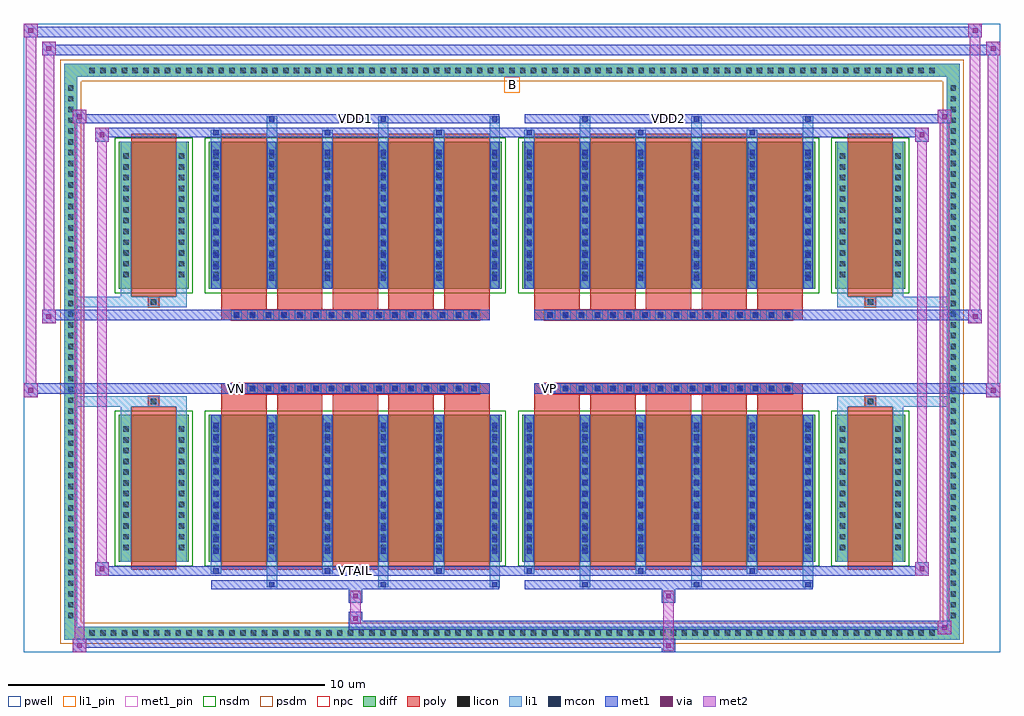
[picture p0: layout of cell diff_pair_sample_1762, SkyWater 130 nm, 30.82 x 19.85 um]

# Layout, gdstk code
import gdstk
lib = gdstk.Library(unit=1e-6, precision=5e-09)
def R(c, l, rs):  # rectangles x0, y0, x1, y1
    for r in rs: c.add(gdstk.rectangle(r[:2], r[2:], *l))
def A(c, l, x, y, w, h, nx, ny, dx, dy):  # array of equal rectangles
    R(c, l, [(x+i*dx, y+j*dy, x+i*dx+w, y+j*dy+h) for i in range(nx) for j in range(ny)])
def P(c, l, *ps):  # polygons
    for p in ps: c.add(gdstk.Polygon(p, *l))
pwell = (64, 44)
diff = (65, 20)
poly = (66, 20)
licon = (66, 44)
li1_pin = (67, 16)
li1 = (67, 20)
mcon = (67, 44)
met1_pin = (68, 16)
met1 = (68, 20)
via = (68, 44)
met2 = (69, 20)
nsdm = (93, 44)
psdm = (94, 20)
npc = (95, 20)

diff_pair_sample_1762 = lib.new_cell('diff_pair_sample_1762')
R(diff_pair_sample_1762, pwell, [(-15.41,-9.49,15.41,10.36), (-12.73,-7.68,-0.01,-0.8), (0.01,-7.68,12.73,-0.8), (-12.73,0.8,-0.01,7.68), (0.01,0.8,12.73,7.68)])
A(diff_pair_sample_1762, diff, -13.465, -9.09, 0.41, 0.41, 79, 2, 0.34, 17.77)
A(diff_pair_sample_1762, diff, -14.14, -8.535, 0.41, 0.41, 1, 50, 0, 0.34)
A(diff_pair_sample_1762, diff, 13.73, -8.535, 0.41, 0.41, 1, 50, 0, 0.34)
R(diff_pair_sample_1762, diff, [(-13.465,-9.09,13.465,-8.68), (-14.14,-8.535,-13.73,8.535), (13.73,-8.535,14.14,8.535), (-12.42,-6.635,-10.21,-1.985), (-9.57,-6.635,-0.32,-1.985), (0.32,-6.635,9.57,-1.985), (10.21,-6.635,12.42,-1.985), (-12.42,1.985,-10.21,6.635), (-9.57,1.985,-0.32,6.635), (0.32,1.985,9.57,6.635), (10.21,1.985,12.42,6.635), (-13.465,8.68,13.465,9.09)])
P(diff_pair_sample_1762, diff, [(14.14,9.09),(-14.14,9.09),(-14.14,-8.68),(-13.73,-8.68),(-13.73,8.68),(13.73,8.68),(13.73,-8.68),(-13.73,-8.68),(-14.14,-8.68),(-14.14,-9.09),(14.14,-9.09)])
A(diff_pair_sample_1762, poly, -9.18, -6.885, 1.43, 5.15, 5, 2, 1.76, 8.62)
A(diff_pair_sample_1762, poly, 0.71, -6.885, 1.43, 5.15, 5, 2, 1.76, 8.62)
A(diff_pair_sample_1762, poly, -9.18, -1.735, 1.43, 0.405, 5, 2, 1.76, 3.065)
A(diff_pair_sample_1762, poly, 0.71, -1.735, 1.43, 0.405, 5, 2, 1.76, 3.065)
A(diff_pair_sample_1762, poly, -8.86, -1.33, 0.33, 0.33, 16, 2, 0.5, 2.33)
A(diff_pair_sample_1762, poly, 1.03, -1.33, 0.33, 0.33, 16, 2, 0.5, 2.33)
R(diff_pair_sample_1762, poly, [(-12.03,-6.885,-10.6,-1.735), (10.6,-6.885,12.03,-1.735), (-11.48,-1.735,-11.15,-1.405), (-11.48,-1.735,-11.15,-1.405), (11.15,-1.735,11.48,-1.405), (11.15,-1.735,11.48,-1.405), (-9.18,-1.33,-0.71,-1), (0.71,-1.33,9.18,-1), (-9.18,1,-0.71,1.33), (0.71,1,9.18,1.33), (-11.48,1.405,-11.15,1.735), (-11.48,1.405,-11.15,1.735), (11.15,1.405,11.48,1.735), (11.15,1.405,11.48,1.735), (-12.03,1.735,-10.6,6.885), (10.6,1.735,12.03,6.885)])
A(diff_pair_sample_1762, licon, -13.345, -8.97, 0.17, 0.17, 79, 2, 0.34, 17.77)
A(diff_pair_sample_1762, licon, -14.02, -8.415, 0.17, 0.17, 1, 50, 0, 0.34)
A(diff_pair_sample_1762, licon, 13.85, -8.415, 0.17, 0.17, 1, 50, 0, 0.34)
A(diff_pair_sample_1762, licon, -12.28, -6.265, 0.17, 0.17, 1, 12, 0, 0.34)
A(diff_pair_sample_1762, licon, -10.52, -6.265, 0.17, 0.17, 1, 12, 0, 0.34)
A(diff_pair_sample_1762, licon, -9.43, -6.265, 0.17, 0.17, 6, 12, 1.76, 0.34)
A(diff_pair_sample_1762, licon, 0.46, -6.265, 0.17, 0.17, 6, 12, 1.76, 0.34)
A(diff_pair_sample_1762, licon, 10.35, -6.265, 0.17, 0.17, 1, 12, 0, 0.34)
A(diff_pair_sample_1762, licon, 12.11, -6.265, 0.17, 0.17, 1, 12, 0, 0.34)
A(diff_pair_sample_1762, licon, -8.78, -1.25, 0.17, 0.17, 16, 2, 0.5, 2.33)
A(diff_pair_sample_1762, licon, 1.11, -1.25, 0.17, 0.17, 16, 2, 0.5, 2.33)
A(diff_pair_sample_1762, licon, -12.28, 2.355, 0.17, 0.17, 1, 12, 0, 0.34)
A(diff_pair_sample_1762, licon, -10.52, 2.355, 0.17, 0.17, 1, 12, 0, 0.34)
A(diff_pair_sample_1762, licon, -9.43, 2.355, 0.17, 0.17, 6, 12, 1.76, 0.34)
A(diff_pair_sample_1762, licon, 0.46, 2.355, 0.17, 0.17, 6, 12, 1.76, 0.34)
A(diff_pair_sample_1762, licon, 10.35, 2.355, 0.17, 0.17, 1, 12, 0, 0.34)
A(diff_pair_sample_1762, licon, 12.11, 2.355, 0.17, 0.17, 1, 12, 0, 0.34)
R(diff_pair_sample_1762, licon, [(-11.4,-1.655,-11.23,-1.485), (11.23,-1.655,11.4,-1.485), (-11.4,1.485,-11.23,1.655), (11.23,1.485,11.4,1.655)])
R(diff_pair_sample_1762, li1_pin, [(-0.25,8.18,0.25,8.68)])
A(diff_pair_sample_1762, li1, -13.425, -9.05, 0.33, 0.33, 79, 2, 0.34, 17.77)
A(diff_pair_sample_1762, li1, -14.1, -8.495, 0.33, 0.33, 1, 50, 0, 0.34)
A(diff_pair_sample_1762, li1, 13.77, -8.495, 0.33, 0.33, 1, 50, 0, 0.34)
A(diff_pair_sample_1762, li1, -7.75, -7.44, 0.33, 0.805, 3, 2, 3.52, 14.075)
A(diff_pair_sample_1762, li1, -7.67, -7.44, 0.17, 0.17, 3, 2, 3.52, 14.71)
A(diff_pair_sample_1762, li1, 2.14, -7.44, 0.33, 0.805, 3, 2, 3.52, 14.075)
A(diff_pair_sample_1762, li1, 2.22, -7.44, 0.17, 0.17, 3, 2, 3.52, 14.71)
A(diff_pair_sample_1762, li1, -9.51, -7.01, 0.33, 0.375, 3, 2, 3.52, 13.645)
A(diff_pair_sample_1762, li1, -9.43, -7.01, 0.17, 0.17, 3, 2, 3.52, 13.85)
A(diff_pair_sample_1762, li1, 0.38, -7.01, 0.33, 0.375, 3, 2, 3.52, 13.645)
A(diff_pair_sample_1762, li1, 0.46, -7.01, 0.17, 0.17, 3, 2, 3.52, 13.85)
A(diff_pair_sample_1762, li1, -9.51, -6.635, 0.33, 4.65, 6, 2, 1.76, 8.62)
A(diff_pair_sample_1762, li1, 0.38, -6.635, 0.33, 4.65, 6, 2, 1.76, 8.62)
A(diff_pair_sample_1762, li1, -9.43, -6.375, 0.17, 0.17, 6, 12, 1.76, 0.36)
A(diff_pair_sample_1762, li1, -9.43, -6.375, 0.17, 4.13, 6, 2, 1.76, 8.62)
A(diff_pair_sample_1762, li1, 0.46, -6.375, 0.17, 0.17, 6, 12, 1.76, 0.36)
A(diff_pair_sample_1762, li1, 0.46, -6.375, 0.17, 4.13, 6, 2, 1.76, 8.62)
A(diff_pair_sample_1762, li1, -12.36, -6.345, 0.33, 0.33, 1, 12, 0, 0.34)
A(diff_pair_sample_1762, li1, -10.6, -6.345, 0.33, 0.33, 1, 12, 0, 0.34)
A(diff_pair_sample_1762, li1, -9.51, -6.345, 0.33, 0.33, 6, 12, 1.76, 0.34)
A(diff_pair_sample_1762, li1, 0.38, -6.345, 0.33, 0.33, 6, 12, 1.76, 0.34)
A(diff_pair_sample_1762, li1, 10.27, -6.345, 0.33, 0.33, 1, 12, 0, 0.34)
A(diff_pair_sample_1762, li1, 12.03, -6.345, 0.33, 0.33, 1, 12, 0, 0.34)
A(diff_pair_sample_1762, li1, -8.86, -1.33, 0.33, 0.33, 16, 2, 0.5, 2.33)
A(diff_pair_sample_1762, li1, 1.03, -1.33, 0.33, 0.33, 16, 2, 0.5, 2.33)
A(diff_pair_sample_1762, li1, -9.43, 2.245, 0.17, 0.17, 6, 12, 1.76, 0.36)
A(diff_pair_sample_1762, li1, 0.46, 2.245, 0.17, 0.17, 6, 12, 1.76, 0.36)
A(diff_pair_sample_1762, li1, -12.36, 2.275, 0.33, 0.33, 1, 12, 0, 0.34)
A(diff_pair_sample_1762, li1, -10.6, 2.275, 0.33, 0.33, 1, 12, 0, 0.34)
A(diff_pair_sample_1762, li1, -9.51, 2.275, 0.33, 0.33, 6, 12, 1.76, 0.34)
A(diff_pair_sample_1762, li1, 0.38, 2.275, 0.33, 0.33, 6, 12, 1.76, 0.34)
A(diff_pair_sample_1762, li1, 10.27, 2.275, 0.33, 0.33, 1, 12, 0, 0.34)
A(diff_pair_sample_1762, li1, 12.03, 2.275, 0.33, 0.33, 1, 12, 0, 0.34)
R(diff_pair_sample_1762, li1, [(-14.14,-9.09,-13.73,-8.68), (-14.14,-9.09,-13.73,-8.68), (-13.73,-9.09,13.73,-8.68), (13.73,-9.09,14.14,-8.68), (13.73,-9.09,14.14,-8.68), (-14.14,-8.68,-13.73,8.68), (13.73,-8.68,14.14,8.68), (-12.36,-6.635,-12.03,-1.985), (-10.6,-6.635,-10.27,-1.985), (10.27,-6.635,10.6,-1.985), (12.03,-6.635,12.36,-1.985), (-12.36,-1.985,-12.03,-1.405), (-10.6,-1.985,-10.27,-1.405), (10.27,-1.985,10.6,-1.405), (12.03,-1.985,12.36,-1.405), (-14.14,-1.735,-11.48,-1.405), (-12.36,-1.735,-11.48,-1.405), (-11.48,-1.735,-11.15,-1.405), (-11.15,-1.735,-10.27,-1.405), (10.27,-1.735,11.15,-1.405), (11.15,-1.735,11.48,-1.405), (11.15,-1.735,14.14,-1.405), (11.48,-1.735,12.36,-1.405), (-14.14,1.405,-11.48,1.735), (-12.36,1.405,-11.48,1.735), (-12.36,1.405,-12.03,1.985), (-11.48,1.405,-11.15,1.735), (-11.15,1.405,-10.27,1.735), (-10.6,1.405,-10.27,1.985), (10.27,1.405,11.15,1.735), (10.27,1.405,10.6,1.985), (11.15,1.405,11.48,1.735), (11.15,1.405,14.14,1.735), (11.48,1.405,12.36,1.735), (12.03,1.405,12.36,1.985), (-12.36,1.985,-12.03,6.635), (-10.6,1.985,-10.27,6.635), (10.27,1.985,10.6,6.635), (12.03,1.985,12.36,6.635), (-14.14,8.68,-13.73,9.09), (-14.14,8.68,-13.73,9.09), (-13.73,8.68,13.73,9.09), (13.73,8.68,14.14,9.09), (13.73,8.68,14.14,9.09)])
A(diff_pair_sample_1762, mcon, -7.67, -7.44, 0.17, 0.17, 3, 2, 3.52, 14.71)
A(diff_pair_sample_1762, mcon, 2.22, -7.44, 0.17, 0.17, 3, 2, 3.52, 14.71)
A(diff_pair_sample_1762, mcon, -9.43, -7.01, 0.17, 0.17, 3, 2, 3.52, 13.85)
A(diff_pair_sample_1762, mcon, 0.46, -7.01, 0.17, 0.17, 3, 2, 3.52, 13.85)
A(diff_pair_sample_1762, mcon, -9.43, -6.375, 0.17, 0.17, 6, 12, 1.76, 0.36)
A(diff_pair_sample_1762, mcon, 0.46, -6.375, 0.17, 0.17, 6, 12, 1.76, 0.36)
A(diff_pair_sample_1762, mcon, -8.78, -1.25, 0.17, 0.17, 16, 2, 0.5, 2.33)
A(diff_pair_sample_1762, mcon, 1.11, -1.25, 0.17, 0.17, 16, 2, 0.5, 2.33)
A(diff_pair_sample_1762, mcon, -9.43, 2.245, 0.17, 0.17, 6, 12, 1.76, 0.36)
A(diff_pair_sample_1762, mcon, 0.46, 2.245, 0.17, 0.17, 6, 12, 1.76, 0.36)
R(diff_pair_sample_1762, met1_pin, [(-5.08,-7.05,-4.81,-6.78), (-8.83,-1.29,-8.56,-1.02), (1.06,-1.29,1.33,-1.02), (-5.08,7.23,-4.81,7.5), (4.81,7.23,5.08,7.5)])
A(diff_pair_sample_1762, met1, -7.73, -7.5, 0.29, 0.29, 3, 2, 3.52, 14.71)
A(diff_pair_sample_1762, met1, 2.16, -7.5, 0.29, 0.29, 3, 2, 3.52, 14.71)
A(diff_pair_sample_1762, met1, -9.49, -7.07, 0.29, 0.29, 3, 2, 3.52, 13.85)
A(diff_pair_sample_1762, met1, 0.4, -7.07, 0.29, 0.29, 3, 2, 3.52, 13.85)
A(diff_pair_sample_1762, met1, -9.49, -6.635, 0.29, 4.65, 6, 2, 1.76, 8.62)
A(diff_pair_sample_1762, met1, 0.4, -6.635, 0.29, 4.65, 6, 2, 1.76, 8.62)
A(diff_pair_sample_1762, met1, -9.49, -6.435, 0.29, 0.29, 6, 12, 1.76, 0.36)
A(diff_pair_sample_1762, met1, 0.4, -6.435, 0.29, 0.29, 6, 12, 1.76, 0.36)
A(diff_pair_sample_1762, met1, -8.84, -1.31, 0.29, 0.29, 16, 2, 0.5, 2.33)
A(diff_pair_sample_1762, met1, 1.05, -1.31, 0.29, 0.29, 16, 2, 0.5, 2.33)
A(diff_pair_sample_1762, met1, -9.49, 2.185, 0.29, 0.29, 6, 12, 1.76, 0.36)
A(diff_pair_sample_1762, met1, 0.4, 2.185, 0.29, 0.29, 6, 12, 1.76, 0.36)
R(diff_pair_sample_1762, met1, [(-13.87,-9.49,-13.44,-9.06), (4.73,-9.49,5.16,-9.06), (-13.87,-9.35,5.16,-9.06), (13.44,-8.92,13.87,-8.49), (-5.16,-8.78,13.87,-8.49), (-5.16,-8.64,-4.73,-8.21), (-5.16,-7.93,-4.73,-7.5), (4.73,-7.93,5.16,-7.5), (-9.49,-7.5,-0.4,-7.21), (0.4,-7.5,9.49,-7.21), (-13.16,-7.07,-12.73,-6.64), (-13.16,-7.07,-9.49,-6.78), (-9.49,-7.07,-0.4,-6.78), (-0.4,-7.07,0.4,-6.78), (0.4,-7.07,9.49,-6.78), (9.49,-7.07,13.16,-6.78), (12.73,-7.07,13.16,-6.64), (-15.41,-1.43,-14.98,-1), (14.98,-1.43,15.41,-1), (-15.41,-1.33,-0.71,-1), (-9.18,-1.33,-0.71,-1), (0.71,-1.33,9.18,-1), (0.71,-1.33,15.41,-1), (-14.84,0.9,-14.41,1.33), (14.41,0.9,14.84,1.33), (-14.84,1,-9.18,1.33), (-9.18,1,-0.71,1.33), (0.71,1,9.18,1.33), (9.18,1,14.84,1.33), (-13.16,6.64,-12.73,7.07), (12.73,6.64,13.16,7.07), (-13.16,6.78,-9.49,7.07), (-9.49,6.78,-0.4,7.07), (-0.4,6.78,0.4,7.07), (0.4,6.78,9.49,7.07), (9.49,6.78,13.16,7.07), (-13.87,7.21,-13.44,7.64), (-13.87,7.21,-9.49,7.5), (-9.49,7.21,-0.4,7.5), (0.4,7.21,9.49,7.5), (9.49,7.21,13.87,7.5), (13.44,7.21,13.87,7.64), (-14.84,9.36,-14.41,9.79), (-14.84,9.36,-12.73,9.69), (-12.73,9.36,12.73,9.69), (12.73,9.36,15.41,9.69), (14.98,9.36,15.41,9.79), (-15.41,9.93,-14.98,10.36), (-15.41,9.93,-12.73,10.26), (-12.73,9.93,12.73,10.26), (12.73,9.93,14.84,10.26), (14.41,9.93,14.84,10.36)])
R(diff_pair_sample_1762, via, [(-13.73,-9.35,-13.58,-9.2), (4.87,-9.35,5.02,-9.2), (13.58,-8.78,13.73,-8.63), (-5.02,-8.5,-4.87,-8.35), (-5.02,-7.79,-4.87,-7.64), (4.87,-7.79,5.02,-7.64), (-13.02,-6.93,-12.87,-6.78), (12.87,-6.93,13.02,-6.78), (-15.27,-1.29,-15.12,-1.14), (15.12,-1.29,15.27,-1.14), (-14.7,1.04,-14.55,1.19), (14.55,1.04,14.7,1.19), (-13.02,6.78,-12.87,6.93), (12.87,6.78,13.02,6.93), (-13.73,7.35,-13.58,7.5), (13.58,7.35,13.73,7.5), (-14.7,9.5,-14.55,9.65), (15.12,9.5,15.27,9.65), (-15.27,10.07,-15.12,10.22), (14.55,10.07,14.7,10.22)])
R(diff_pair_sample_1762, met2, [(-13.87,-9.49,-13.44,-9.06), (-13.8,-9.49,-13.51,7.64), (-13.51,-9.49,-13.44,-9.06), (-13.82,-9.44,-13.49,-9.11), (4.78,-9.44,5.11,-9.11), (4.78,-9.11,5.11,-7.88), (13.44,-8.92,13.87,-8.49), (13.51,-8.92,13.8,7.64), (13.8,-8.92,13.87,-8.49), (13.49,-8.87,13.82,-8.54), (-5.11,-8.59,-4.78,-8.26), (-5.11,-8.26,-4.78,-7.88), (-5.11,-7.88,-4.78,-7.55), (4.78,-7.88,5.11,-7.55), (-13.16,-7.07,-12.73,-6.64), (-13.09,-7.07,-12.8,7.07), (-12.8,-7.07,-12.73,-6.64), (12.73,-7.07,13.16,-6.64), (12.8,-7.07,13.09,7.07), (13.09,-7.07,13.16,-6.64), (-13.11,-7.02,-12.78,-6.69), (12.78,-7.02,13.11,-6.69), (-15.41,-1.43,-14.98,-1), (-15.36,-1.43,-15.03,10.36), (-15.03,-1.43,-14.98,-1), (14.98,-1.43,15.41,-1), (15.03,-1.43,15.36,9.79), (15.36,-1.43,15.41,-1), (-15.36,-1.38,-15.03,-1.05), (15.03,-1.38,15.36,-1.05), (-14.84,0.9,-14.41,1.33), (-14.79,0.9,-14.46,9.79), (-14.46,0.9,-14.41,1.33), (14.41,0.9,14.84,1.33), (14.46,0.9,14.79,10.36), (14.79,0.9,14.84,1.33), (-14.79,0.95,-14.46,1.28), (14.46,0.95,14.79,1.28), (-13.16,6.64,-12.73,7.07), (-12.8,6.64,-12.73,7.07), (12.73,6.64,13.16,7.07), (13.09,6.64,13.16,7.07), (-13.11,6.69,-12.78,7.02), (12.78,6.69,13.11,7.02), (-13.87,7.21,-13.44,7.64), (-13.51,7.21,-13.44,7.64), (13.44,7.21,13.87,7.64), (13.8,7.21,13.87,7.64), (-13.82,7.26,-13.49,7.59), (13.49,7.26,13.82,7.59), (-14.84,9.36,-14.41,9.79), (-14.46,9.36,-14.41,9.79), (14.98,9.36,15.41,9.79), (15.36,9.36,15.41,9.79), (-14.79,9.41,-14.46,9.74), (15.03,9.41,15.36,9.74), (-15.41,9.93,-14.98,10.36), (-15.03,9.93,-14.98,10.36), (14.41,9.93,14.84,10.36), (14.79,9.93,14.84,10.36), (-15.36,9.98,-15.03,10.31), (14.46,9.98,14.79,10.31)])
R(diff_pair_sample_1762, nsdm, [(-12.55,-6.765,-10.08,-1.855), (-9.7,-6.765,-0.19,-1.855), (0.19,-6.765,9.7,-1.855), (10.08,-6.765,12.55,-1.855), (-12.55,1.855,-10.08,6.765), (-9.7,1.855,-0.19,6.765), (0.19,1.855,9.7,6.765), (10.08,1.855,12.55,6.765)])
P(diff_pair_sample_1762, psdm, [(14.27,9.22),(-14.27,9.22),(-14.27,-8.55),(-13.6,-8.55),(-13.6,8.55),(13.6,8.55),(13.6,-8.55),(-13.6,-8.55),(-14.27,-8.55),(-14.27,-9.22),(14.27,-9.22)])
A(diff_pair_sample_1762, npc, -8.88, -1.35, 0.37, 0.37, 16, 2, 0.5, 2.33)
A(diff_pair_sample_1762, npc, 1.01, -1.35, 0.37, 0.37, 16, 2, 0.5, 2.33)
R(diff_pair_sample_1762, npc, [(-11.5,-1.755,-11.13,-1.385), (11.13,-1.755,11.5,-1.385), (-8.88,-1.35,-8.01,-0.98), (-8.88,-1.35,-8.01,-0.98), (-8.38,-1.35,-7.51,-0.98), (-8.38,-1.35,-7.51,-0.98), (-7.88,-1.35,-7.01,-0.98), (-7.88,-1.35,-7.01,-0.98), (-7.38,-1.35,-6.51,-0.98), (-7.38,-1.35,-6.51,-0.98), (-6.88,-1.35,-6.01,-0.98), (-6.88,-1.35,-6.01,-0.98), (-6.38,-1.35,-5.51,-0.98), (-6.38,-1.35,-5.51,-0.98), (-5.88,-1.35,-5.01,-0.98), (-5.88,-1.35,-5.01,-0.98), (-5.38,-1.35,-4.51,-0.98), (-5.38,-1.35,-4.51,-0.98), (-4.88,-1.35,-4.01,-0.98), (-4.88,-1.35,-4.01,-0.98), (-4.38,-1.35,-3.51,-0.98), (-4.38,-1.35,-3.51,-0.98), (-3.88,-1.35,-3.01,-0.98), (-3.88,-1.35,-3.01,-0.98), (-3.38,-1.35,-2.51,-0.98), (-3.38,-1.35,-2.51,-0.98), (-2.88,-1.35,-2.01,-0.98), (-2.88,-1.35,-2.01,-0.98), (-2.38,-1.35,-1.51,-0.98), (-2.38,-1.35,-1.51,-0.98), (-1.88,-1.35,-1.01,-0.98), (-1.88,-1.35,-1.01,-0.98), (1.01,-1.35,1.88,-0.98), (1.01,-1.35,1.88,-0.98), (1.51,-1.35,2.38,-0.98), (1.51,-1.35,2.38,-0.98), (2.01,-1.35,2.88,-0.98), (2.01,-1.35,2.88,-0.98), (2.51,-1.35,3.38,-0.98), (2.51,-1.35,3.38,-0.98), (3.01,-1.35,3.88,-0.98), (3.01,-1.35,3.88,-0.98), (3.51,-1.35,4.38,-0.98), (3.51,-1.35,4.38,-0.98), (4.01,-1.35,4.88,-0.98), (4.01,-1.35,4.88,-0.98), (4.51,-1.35,5.38,-0.98), (4.51,-1.35,5.38,-0.98), (5.01,-1.35,5.88,-0.98), (5.01,-1.35,5.88,-0.98), (5.51,-1.35,6.38,-0.98), (5.51,-1.35,6.38,-0.98), (6.01,-1.35,6.88,-0.98), (6.01,-1.35,6.88,-0.98), (6.51,-1.35,7.38,-0.98), (6.51,-1.35,7.38,-0.98), (7.01,-1.35,7.88,-0.98), (7.01,-1.35,7.88,-0.98), (7.51,-1.35,8.38,-0.98), (7.51,-1.35,8.38,-0.98), (8.01,-1.35,8.88,-0.98), (8.01,-1.35,8.88,-0.98), (-8.88,0.98,-8.01,1.35), (-8.88,0.98,-8.01,1.35), (-8.38,0.98,-7.51,1.35), (-8.38,0.98,-7.51,1.35), (-7.88,0.98,-7.01,1.35), (-7.88,0.98,-7.01,1.35), (-7.38,0.98,-6.51,1.35), (-7.38,0.98,-6.51,1.35), (-6.88,0.98,-6.01,1.35), (-6.88,0.98,-6.01,1.35), (-6.38,0.98,-5.51,1.35), (-6.38,0.98,-5.51,1.35), (-5.88,0.98,-5.01,1.35), (-5.88,0.98,-5.01,1.35), (-5.38,0.98,-4.51,1.35), (-5.38,0.98,-4.51,1.35), (-4.88,0.98,-4.01,1.35), (-4.88,0.98,-4.01,1.35), (-4.38,0.98,-3.51,1.35), (-4.38,0.98,-3.51,1.35), (-3.88,0.98,-3.01,1.35), (-3.88,0.98,-3.01,1.35), (-3.38,0.98,-2.51,1.35), (-3.38,0.98,-2.51,1.35), (-2.88,0.98,-2.01,1.35), (-2.88,0.98,-2.01,1.35), (-2.38,0.98,-1.51,1.35), (-2.38,0.98,-1.51,1.35), (-1.88,0.98,-1.01,1.35), (-1.88,0.98,-1.01,1.35), (1.01,0.98,1.88,1.35), (1.01,0.98,1.88,1.35), (1.51,0.98,2.38,1.35), (1.51,0.98,2.38,1.35), (2.01,0.98,2.88,1.35), (2.01,0.98,2.88,1.35), (2.51,0.98,3.38,1.35), (2.51,0.98,3.38,1.35), (3.01,0.98,3.88,1.35), (3.01,0.98,3.88,1.35), (3.51,0.98,4.38,1.35), (3.51,0.98,4.38,1.35), (4.01,0.98,4.88,1.35), (4.01,0.98,4.88,1.35), (4.51,0.98,5.38,1.35), (4.51,0.98,5.38,1.35), (5.01,0.98,5.88,1.35), (5.01,0.98,5.88,1.35), (5.51,0.98,6.38,1.35), (5.51,0.98,6.38,1.35), (6.01,0.98,6.88,1.35), (6.01,0.98,6.88,1.35), (6.51,0.98,7.38,1.35), (6.51,0.98,7.38,1.35), (7.01,0.98,7.88,1.35), (7.01,0.98,7.88,1.35), (7.51,0.98,8.38,1.35), (7.51,0.98,8.38,1.35), (8.01,0.98,8.88,1.35), (8.01,0.98,8.88,1.35), (-11.5,1.385,-11.13,1.755), (11.13,1.385,11.5,1.755)])
diff_pair_sample_1762.add(gdstk.Label('VTAIL', (-4.945,-6.915), layer=68, texttype=5))
diff_pair_sample_1762.add(gdstk.Label('VN', (-8.695,-1.155), layer=68, texttype=5))
diff_pair_sample_1762.add(gdstk.Label('VP', (1.195,-1.155), layer=68, texttype=5))
diff_pair_sample_1762.add(gdstk.Label('B', (0,8.43), layer=67, texttype=5))
diff_pair_sample_1762.add(gdstk.Label('VDD2', (4.945,7.365), layer=68, texttype=5))
diff_pair_sample_1762.add(gdstk.Label('VDD1', (-4.945,7.365), layer=68, texttype=5))

lib.write_gds('diff_pair_sample_1762.gds')
